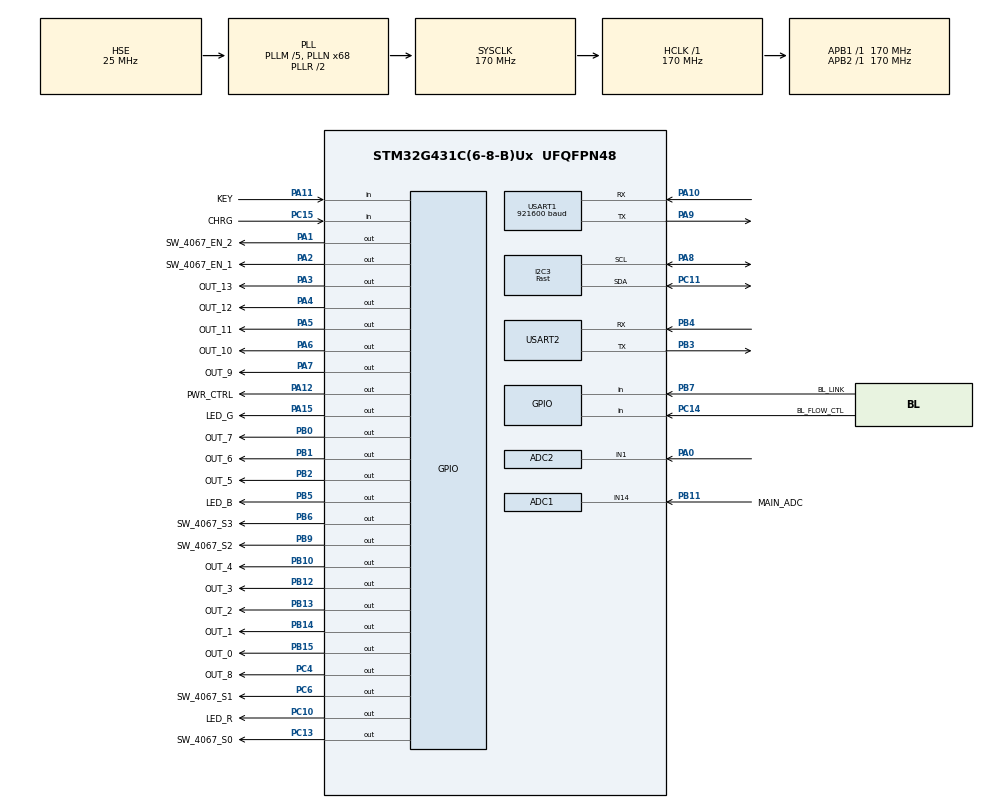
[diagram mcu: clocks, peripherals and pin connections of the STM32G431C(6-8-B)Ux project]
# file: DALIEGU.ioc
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ADC1.Channel-1\#ChannelRegularConversion=ADC_CHANNEL_14
ADC1.ContinuousConvMode=ENABLE
ADC1.DMAContinuousRequests=ENABLE
ADC1.NbrOfConversionFlag=1
ADC1.OffsetNumber-1\#ChannelRegularConversion=ADC_OFFSET_NONE
ADC1.Rank-1\#ChannelRegularConversion=1
ADC1.Resolution=ADC_RESOLUTION_8B
ADC1.SamplingTime-1\#ChannelRegularConversion=ADC_SAMPLETIME_2CYCLES_5
ADC1.master=1
ADC2.Channel-0\#ChannelRegularConversion=ADC_CHANNEL_1
ADC2.ClockPrescaler=ADC_CLOCK_SYNC_PCLK_DIV4
ADC2.ContinuousConvMode=ENABLE
ADC2.DMAContinuousRequests=ENABLE
ADC2.NbrOfConversionFlag=1
ADC2.OffsetNumber-0\#ChannelRegularConversion=ADC_OFFSET_NONE
ADC2.Rank-0\#ChannelRegularConversion=1
ADC2.SamplingTime-0\#ChannelRegularConversion=ADC_SAMPLETIME_92CYCLES_5
Dma.ADC1.4.Direction=DMA_PERIPH_TO_MEMORY
Dma.ADC1.4.EventEnable=DISABLE
Dma.ADC1.4.Instance=DMA1_Channel2
Dma.ADC1.4.MemDataAlignment=DMA_MDATAALIGN_BYTE
Dma.ADC1.4.MemInc=DMA_MINC_ENABLE
Dma.ADC1.4.Mode=DMA_CIRCULAR
Dma.ADC1.4.PeriphDataAlignment=DMA_PDATAALIGN_BYTE
Dma.ADC1.4.PeriphInc=DMA_PINC_DISABLE
Dma.ADC1.4.Polarity=HAL_DMAMUX_REQ_GEN_RISING
Dma.ADC1.4.Priority=DMA_PRIORITY_LOW
Dma.ADC1.4.RequestNumber=1
Dma.ADC1.4.SignalID=NONE
Dma.ADC1.4.SyncEnable=DISABLE
Dma.ADC1.4.SyncPolarity=HAL_DMAMUX_SYNC_NO_EVENT
Dma.ADC1.4.SyncRequestNumber=1
Dma.ADC1.4.SyncSignalID=NONE
Dma.ADC2.0.Direction=DMA_PERIPH_TO_MEMORY
Dma.ADC2.0.EventEnable=DISABLE
Dma.ADC2.0.Instance=DMA1_Channel1
Dma.ADC2.0.MemDataAlignment=DMA_MDATAALIGN_HALFWORD
Dma.ADC2.0.MemInc=DMA_MINC_ENABLE
Dma.ADC2.0.Mode=DMA_CIRCULAR
Dma.ADC2.0.PeriphDataAlignment=DMA_PDATAALIGN_HALFWORD
Dma.ADC2.0.PeriphInc=DMA_PINC_DISABLE
Dma.ADC2.0.Polarity=HAL_DMAMUX_REQ_GEN_RISING
Dma.ADC2.0.Priority=DMA_PRIORITY_LOW
Dma.ADC2.0.RequestNumber=1
Dma.ADC2.0.SignalID=NONE
Dma.ADC2.0.SyncEnable=DISABLE
Dma.ADC2.0.SyncPolarity=HAL_DMAMUX_SYNC_NO_EVENT
Dma.ADC2.0.SyncRequestNumber=1
Dma.ADC2.0.SyncSignalID=NONE
Dma.Request0=ADC2
Dma.Request1=USART1_TX
Dma.Request2=USART2_RX
Dma.Request3=USART2_TX
Dma.Request4=ADC1
Dma.USART1_TX.1.Direction=DMA_MEMORY_TO_PERIPH
Dma.USART1_TX.1.EventEnable=DISABLE
Dma.USART1_TX.1.Instance=DMA1_Channel3
Dma.USART1_TX.1.MemDataAlignment=DMA_MDATAALIGN_BYTE
Dma.USART1_TX.1.MemInc=DMA_MINC_ENABLE
Dma.USART1_TX.1.Mode=DMA_NORMAL
Dma.USART1_TX.1.PeriphDataAlignment=DMA_PDATAALIGN_BYTE
Dma.USART1_TX.1.PeriphInc=DMA_PINC_DISABLE
Dma.USART1_TX.1.Polarity=HAL_DMAMUX_REQ_GEN_RISING
Dma.USART1_TX.1.Priority=DMA_PRIORITY_LOW
Dma.USART1_TX.1.RequestNumber=1
Dma.USART1_TX.1.SignalID=NONE
Dma.USART1_TX.1.SyncEnable=DISABLE
Dma.USART1_TX.1.SyncPolarity=HAL_DMAMUX_SYNC_NO_EVENT
Dma.USART1_TX.1.SyncRequestNumber=1
Dma.USART1_TX.1.SyncSignalID=NONE
Dma.USART2_RX.2.Direction=DMA_PERIPH_TO_MEMORY
Dma.USART2_RX.2.EventEnable=DISABLE
Dma.USART2_RX.2.Instance=DMA1_Channel4
Dma.USART2_RX.2.MemDataAlignment=DMA_MDATAALIGN_BYTE
Dma.USART2_RX.2.MemInc=DMA_MINC_ENABLE
Dma.USART2_RX.2.Mode=DMA_NORMAL
Dma.USART2_RX.2.PeriphDataAlignment=DMA_PDATAALIGN_BYTE
Dma.USART2_RX.2.PeriphInc=DMA_PINC_DISABLE
Dma.USART2_RX.2.Polarity=HAL_DMAMUX_REQ_GEN_RISING
Dma.USART2_RX.2.Priority=DMA_PRIORITY_LOW
Dma.USART2_RX.2.RequestNumber=1
Dma.USART2_RX.2.SignalID=NONE
Dma.USART2_RX.2.SyncEnable=DISABLE
Dma.USART2_RX.2.SyncPolarity=HAL_DMAMUX_SYNC_NO_EVENT
Dma.USART2_RX.2.SyncRequestNumber=1
Dma.USART2_RX.2.SyncSignalID=NONE
Dma.USART2_TX.3.Direction=DMA_MEMORY_TO_PERIPH
Dma.USART2_TX.3.EventEnable=DISABLE
Dma.USART2_TX.3.Instance=DMA1_Channel5
Dma.USART2_TX.3.MemDataAlignment=DMA_MDATAALIGN_BYTE
Dma.USART2_TX.3.MemInc=DMA_MINC_ENABLE
Dma.USART2_TX.3.Mode=DMA_NORMAL
Dma.USART2_TX.3.PeriphDataAlignment=DMA_PDATAALIGN_BYTE
Dma.USART2_TX.3.PeriphInc=DMA_PINC_DISABLE
Dma.USART2_TX.3.Polarity=HAL_DMAMUX_REQ_GEN_RISING
Dma.USART2_TX.3.Priority=DMA_PRIORITY_LOW
Dma.USART2_TX.3.RequestNumber=1
Dma.USART2_TX.3.SignalID=NONE
Dma.USART2_TX.3.SyncEnable=DISABLE
Dma.USART2_TX.3.SyncPolarity=HAL_DMAMUX_SYNC_NO_EVENT
Dma.USART2_TX.3.SyncRequestNumber=1
Dma.USART2_TX.3.SyncSignalID=NONE
I2C3.I2C_Speed_Mode=I2C_Fast
I2C3.Timing=0x40621236
Mcu.Family=STM32G4
Mcu.Name=STM32G431C(6-8-B)Ux
Mcu.Package=UFQFPN48
NVIC.ADC1_2_IRQn=true\:0\:0\:false\:false\:true\:true\:true\:true
NVIC.DMA1_Channel1_IRQn=true\:0\:0\:false\:false\:true\:false\:true\:true
NVIC.DMA1_Channel2_IRQn=true\:0\:0\:false\:false\:true\:false\:true\:true
NVIC.DMA1_Channel3_IRQn=true\:0\:0\:false\:false\:true\:false\:true\:true
NVIC.DMA1_Channel4_IRQn=true\:0\:0\:false\:false\:true\:false\:true\:true
NVIC.DMA1_Channel5_IRQn=true\:0\:0\:false\:false\:true\:false\:true\:true
NVIC.PriorityGroup=NVIC_PRIORITYGROUP_4
NVIC.USART1_IRQn=true\:0\:0\:false\:false\:true\:false\:true\:true
NVIC.USART2_IRQn=true\:0\:0\:false\:false\:true\:false\:true\:true
PA0.Mode=IN1-Single-Ended
PA0.Signal=ADC2_IN1
PA1.GPIO_Label=SW_4067_EN_2
PA1.GPIO_Speed=GPIO_SPEED_FREQ_VERY_HIGH
PA1.PinState=GPIO_PIN_SET
PA1.Signal=GPIO_Output
PA10.Mode=Asynchronous
PA10.Signal=USART1_RX
PA11.GPIO_Label=KEY
PA11.GPIO_PuPd=GPIO_NOPULL
PA11.Signal=GPIO_Input
PA12.GPIO_Label=PWR_CTRL
PA12.PinState=GPIO_PIN_RESET
PA12.Signal=GPIO_Output
PA13.Mode=Serial_Wire
PA13.Signal=SYS_JTMS-SWDIO
PA14.Mode=Serial_Wire
PA14.Signal=SYS_JTCK-SWCLK
PA15.GPIO_Label=LED_G
PA15.PinState=GPIO_PIN_SET
PA15.Signal=GPIO_Output
PA2.GPIO_Label=SW_4067_EN_1
PA2.GPIO_Speed=GPIO_SPEED_FREQ_VERY_HIGH
PA2.PinState=GPIO_PIN_SET
PA2.Signal=GPIO_Output
PA3.GPIO_Label=OUT_13
PA3.GPIO_ModeDefaultOutputPP=GPIO_MODE_OUTPUT_PP
PA3.GPIO_PuPd=GPIO_NOPULL
PA3.GPIO_Speed=GPIO_SPEED_FREQ_VERY_HIGH
PA3.PinState=GPIO_PIN_RESET
PA3.Signal=GPIO_Output
PA4.GPIO_Label=OUT_12
PA4.GPIO_ModeDefaultOutputPP=GPIO_MODE_OUTPUT_PP
PA4.GPIO_PuPd=GPIO_NOPULL
PA4.GPIO_Speed=GPIO_SPEED_FREQ_VERY_HIGH
PA4.PinState=GPIO_PIN_RESET
PA4.Signal=GPIO_Output
PA5.GPIO_Label=OUT_11
PA5.GPIO_ModeDefaultOutputPP=GPIO_MODE_OUTPUT_PP
PA5.GPIO_PuPd=GPIO_NOPULL
PA5.GPIO_Speed=GPIO_SPEED_FREQ_VERY_HIGH
PA5.PinState=GPIO_PIN_RESET
PA5.Signal=GPIO_Output
PA6.GPIO_Label=OUT_10
PA6.GPIO_ModeDefaultOutputPP=GPIO_MODE_OUTPUT_PP
PA6.GPIO_PuPd=GPIO_NOPULL
PA6.GPIO_Speed=GPIO_SPEED_FREQ_VERY_HIGH
PA6.PinState=GPIO_PIN_RESET
PA6.Signal=GPIO_Output
PA7.GPIO_Label=OUT_9
PA7.GPIO_ModeDefaultOutputPP=GPIO_MODE_OUTPUT_PP
PA7.GPIO_PuPd=GPIO_NOPULL
PA7.GPIO_Speed=GPIO_SPEED_FREQ_VERY_HIGH
PA7.PinState=GPIO_PIN_RESET
PA7.Signal=GPIO_Output
PA8.Mode=I2C
PA8.Signal=I2C3_SCL
PA9.Mode=Asynchronous
PA9.Signal=USART1_TX
PB0.GPIO_Label=OUT_7
PB0.GPIO_ModeDefaultOutputPP=GPIO_MODE_OUTPUT_PP
PB0.GPIO_PuPd=GPIO_NOPULL
PB0.GPIO_Speed=GPIO_SPEED_FREQ_VERY_HIGH
PB0.PinState=GPIO_PIN_RESET
PB0.Signal=GPIO_Output
PB1.GPIO_Label=OUT_6
PB1.GPIO_ModeDefaultOutputPP=GPIO_MODE_OUTPUT_PP
PB1.GPIO_PuPd=GPIO_NOPULL
PB1.GPIO_Speed=GPIO_SPEED_FREQ_VERY_HIGH
PB1.PinState=GPIO_PIN_RESET
PB1.Signal=GPIO_Output
PB10.GPIO_Label=OUT_4
PB10.GPIO_ModeDefaultOutputPP=GPIO_MODE_OUTPUT_PP
PB10.GPIO_PuPd=GPIO_NOPULL
PB10.GPIO_Speed=GPIO_SPEED_FREQ_VERY_HIGH
PB10.PinState=GPIO_PIN_RESET
PB10.Signal=GPIO_Output
PB11.GPIO_Label=MAIN_ADC
PB11.Mode=IN14-Single-Ended
PB11.Signal=ADC1_IN14
PB12.GPIO_Label=OUT_3
PB12.GPIO_ModeDefaultOutputPP=GPIO_MODE_OUTPUT_PP
PB12.GPIO_PuPd=GPIO_NOPULL
PB12.GPIO_Speed=GPIO_SPEED_FREQ_VERY_HIGH
PB12.PinState=GPIO_PIN_RESET
PB12.Signal=GPIO_Output
PB13.GPIO_Label=OUT_2
PB13.GPIO_ModeDefaultOutputPP=GPIO_MODE_OUTPUT_PP
PB13.GPIO_PuPd=GPIO_NOPULL
PB13.GPIO_Speed=GPIO_SPEED_FREQ_VERY_HIGH
PB13.PinState=GPIO_PIN_RESET
PB13.Signal=GPIO_Output
PB14.GPIO_Label=OUT_1
PB14.GPIO_ModeDefaultOutputPP=GPIO_MODE_OUTPUT_PP
PB14.GPIO_PuPd=GPIO_NOPULL
PB14.GPIO_Speed=GPIO_SPEED_FREQ_VERY_HIGH
PB14.PinState=GPIO_PIN_RESET
PB14.Signal=GPIO_Output
PB15.GPIO_Label=OUT_0
PB15.GPIO_ModeDefaultOutputPP=GPIO_MODE_OUTPUT_PP
PB15.GPIO_PuPd=GPIO_NOPULL
PB15.GPIO_Speed=GPIO_SPEED_FREQ_VERY_HIGH
PB15.PinState=GPIO_PIN_RESET
PB15.Signal=GPIO_Output
PB2.GPIO_Label=OUT_5
PB2.GPIO_ModeDefaultOutputPP=GPIO_MODE_OUTPUT_PP
PB2.GPIO_PuPd=GPIO_NOPULL
PB2.GPIO_Speed=GPIO_SPEED_FREQ_VERY_HIGH
PB2.PinState=GPIO_PIN_RESET
PB2.Signal=GPIO_Output
PB3.Mode=Asynchronous
PB3.Signal=USART2_TX
PB4.Mode=Asynchronous
PB4.Signal=USART2_RX
PB5.GPIO_Label=LED_B
PB5.PinState=GPIO_PIN_SET
PB5.Signal=GPIO_Output
PB6.GPIO_Label=SW_4067_S3
PB6.GPIO_ModeDefaultOutputPP=GPIO_MODE_OUTPUT_PP
PB6.GPIO_PuPd=GPIO_NOPULL
PB6.GPIO_Speed=GPIO_SPEED_FREQ_VERY_HIGH
PB6.PinState=GPIO_PIN_RESET
PB6.Signal=GPIO_Output
PB7.GPIO_Label=BL_LINK
PB7.Signal=GPIO_Input
PB9.GPIO_Label=SW_4067_S2
PB9.GPIO_ModeDefaultOutputPP=GPIO_MODE_OUTPUT_PP
PB9.GPIO_PuPd=GPIO_NOPULL
PB9.GPIO_Speed=GPIO_SPEED_FREQ_VERY_HIGH
PB9.PinState=GPIO_PIN_RESET
PB9.Signal=GPIO_Output
PC10.GPIO_Label=LED_R
PC10.PinState=GPIO_PIN_SET
PC10.Signal=GPIO_Output
PC11.Mode=I2C
PC11.Signal=I2C3_SDA
PC13.GPIO_Label=SW_4067_S0
PC13.GPIO_ModeDefaultOutputPP=GPIO_MODE_OUTPUT_PP
PC13.GPIO_PuPd=GPIO_NOPULL
PC13.PinState=GPIO_PIN_RESET
PC13.Signal=GPIO_Output
PC14-OSC32_IN.GPIO_Label=BL_FLOW_CTL
PC14-OSC32_IN.Signal=GPIO_Input
PC15-OSC32_OUT.GPIO_Label=CHRG
PC15-OSC32_OUT.Signal=GPIO_Input
PC4.GPIO_Label=OUT_8
PC4.GPIO_ModeDefaultOutputPP=GPIO_MODE_OUTPUT_PP
PC4.GPIO_PuPd=GPIO_NOPULL
PC4.GPIO_Speed=GPIO_SPEED_FREQ_VERY_HIGH
PC4.PinState=GPIO_PIN_RESET
PC4.Signal=GPIO_Output
PC6.GPIO_Label=SW_4067_S1
PC6.GPIO_ModeDefaultOutputPP=GPIO_MODE_OUTPUT_PP
PC6.GPIO_PuPd=GPIO_NOPULL
PC6.GPIO_Speed=GPIO_SPEED_FREQ_VERY_HIGH
PC6.PinState=GPIO_PIN_RESET
PC6.Signal=GPIO_Output
PF0-OSC_IN.Mode=HSE-External-Oscillator
PF0-OSC_IN.Signal=RCC_OSC_IN
PF1-OSC_OUT.Mode=HSE-External-Oscillator
PF1-OSC_OUT.Signal=RCC_OSC_OUT
ProjectManager.HeapSize=0x200
ProjectManager.StackSize=0x400
ProjectManager.TargetToolchain=MDK-ARM V5.32
RCC.ADC12Freq_Value=170000000
RCC.AHBFreq_Value=170000000
RCC.APB1Freq_Value=170000000
RCC.APB1TimFreq_Value=170000000
RCC.APB2Freq_Value=170000000
RCC.APB2TimFreq_Value=170000000
RCC.CortexFreq_Value=170000000
RCC.EXTERNAL_CLOCK_VALUE=12288000
RCC.HCLKFreq_Value=170000000
RCC.HSE_VALUE=25000000
RCC.HSI48_VALUE=48000000
RCC.HSI_VALUE=16000000
RCC.LSE_VALUE=32768
RCC.PLLM=RCC_PLLM_DIV5
RCC.PLLN=68
RCC.PLLSourceVirtual=RCC_PLLSOURCE_HSE
RCC.SYSCLKFreq_VALUE=170000000
RCC.SYSCLKSource=RCC_SYSCLKSOURCE_PLLCLK
RCC.USBFreq_Value=170000000
RCC.VCOOutputFreq_Value=340000000
USART1.BaudRate=921600
USART1.VirtualMode-Asynchronous=VM_ASYNC
USART2.VirtualMode-Asynchronous=VM_ASYNC
VP_IWDG_VS_IWDG.Mode=IWDG_Activate
VP_SYS_VS_DBSignals.Mode=DisableDeadBatterySignals
board=custom

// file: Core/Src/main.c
/* USER CODE BEGIN Header */
/**
 ******************************************************************************
 * @file           : main.c
 * @brief          : Main program body
 ******************************************************************************
 * @attention
 *
 * Copyright (c) 2026 STMicroelectronics.
 * All rights reserved.
 *
 * This software is licensed under terms that can be found in the LICENSE file
 * in the root directory of this software component.
 * If no LICENSE file comes with this software, it is provided AS-IS.
 *
 ******************************************************************************
 */
/* USER CODE END Header */
#include "main.h"
#include "adc.h"
#include "dma.h"
#include "i2c.h"
#include "iwdg.h"
#include "usart.h"
#include "gpio.h"

/* USER CODE BEGIN Includes */
#include "user_comm.h"
/* USER CODE END Includes */

void SystemClock_Config(void);

int main(void)
{

    /* MCU Configuration--------------------------------------------------------*/

    /* Reset of all peripherals, Initializes the Flash interface and the Systick. */
    HAL_Init();

    /* Configure the system clock */
    SystemClock_Config();

    /* Initialize all configured peripherals */
    MX_GPIO_Init();
    MX_DMA_Init();
    MX_IWDG_Init();
    MX_ADC2_Init();
    MX_ADC1_Init();
    MX_I2C3_Init();
    MX_USART1_UART_Init();
    MX_USART2_UART_Init();
    /* USER CODE BEGIN 2 */
    all_led_off();

    delay_init();

    start_control();

    fill_tx_data();

    check_mems_type();

    // 根据不同的MEMS型号进行初始化
    init_mems();

    // 开关全关
    HAL_GPIO_WritePin(SW_4067_EN_2_GPIO_Port, SW_4067_EN_2_Pin, GPIO_PIN_SET);
    HAL_GPIO_WritePin(SW_4067_EN_1_GPIO_Port, SW_4067_EN_1_Pin, GPIO_PIN_SET);

    HAL_ADC_Start_DMA(&hadc1, (uint32_t *)main_adc_buf, ADC1_BUF_SIZE);
    HAL_ADC_Start_DMA(&hadc2, (uint32_t *)bat_val_dma_buf, ADC2_BUF_SIZE);

    // HAL_GPIO_WritePin(LED_B_GPIO_Port, LED_B_Pin, GPIO_PIN_RESET); // 关闭LED蓝灯
    // 打开通道1
    // HAL_GPIO_WritePin(OUT_0_GPIO_Port, OUT_0_Pin, GPIO_PIN_SET);

    // // 打开adc通道0
    // HAL_GPIO_WritePin(SW_4067_S0_GPIO_Port, SW_4067_S0_Pin, GPIO_PIN_SET);
    // HAL_GPIO_WritePin(SW_4067_S1_GPIO_Port, SW_4067_S1_Pin, GPIO_PIN_RESET);
    // HAL_GPIO_WritePin(SW_4067_S2_GPIO_Port, SW_4067_S2_Pin, GPIO_PIN_RESET);
    // HAL_GPIO_WritePin(SW_4067_S3_GPIO_Port, SW_4067_S3_Pin, GPIO_PIN_RESET);

    // HAL_GPIO_WritePin(SW_4067_EN_1_GPIO_Port, SW_4067_EN_1_Pin, GPIO_PIN_RESET);
    // HAL_GPIO_WritePin(SW_4067_EN_2_GPIO_Port, SW_4067_EN_2_Pin, GPIO_PIN_SET);

    /* USER CODE END 2 */

    /* Infinite loop */
    /* USER CODE BEGIN WHILE */
    while (1)
    {

        // 5.5ms
        main_task();

        // 喂狗
        feed_iwdg();

        key_task();

        bat_task();

        led_task();

        bl_link_status_check();

        imu_rest_cmd_task();

        charge_state_task();

        mems_task();

        /* USER CODE END WHILE */

    }
}

void SystemClock_Config(void)
{
    RCC_OscInitTypeDef RCC_OscInitStruct = {0};
    RCC_ClkInitTypeDef RCC_ClkInitStruct = {0};

    /** Configure the main internal regulator output voltage
     */
    HAL_PWREx_ControlVoltageScaling(PWR_REGULATOR_VOLTAGE_SCALE1_BOOST);

    /** Initializes the RCC Oscillators according to the specified parameters
     * in the RCC_OscInitTypeDef structure.
     */
    RCC_OscInitStruct.OscillatorType = RCC_OSCILLATORTYPE_LSI | RCC_OSCILLATORTYPE_HSE;
    RCC_OscInitStruct.HSEState = RCC_HSE_ON;
    RCC_OscInitStruct.LSIState = RCC_LSI_ON;
    RCC_OscInitStruct.PLL.PLLState = RCC_PLL_ON;
    RCC_OscInitStruct.PLL.PLLSource = RCC_PLLSOURCE_HSE;
    RCC_OscInitStruct.PLL.PLLM = RCC_PLLM_DIV5;
    RCC_OscInitStruct.PLL.PLLN = 68;
    RCC_OscInitStruct.PLL.PLLP = RCC_PLLP_DIV2;
    RCC_OscInitStruct.PLL.PLLQ = RCC_PLLQ_DIV2;
    RCC_OscInitStruct.PLL.PLLR = RCC_PLLR_DIV2;
    if (HAL_RCC_OscConfig(&RCC_OscInitStruct) != HAL_OK)
    {
        Error_Handler();
    }

    /** Initializes the CPU, AHB and APB buses clocks
     */
    RCC_ClkInitStruct.ClockType = RCC_CLOCKTYPE_HCLK | RCC_CLOCKTYPE_SYSCLK | RCC_CLOCKTYPE_PCLK1 | RCC_CLOCKTYPE_PCLK2;
    RCC_ClkInitStruct.SYSCLKSource = RCC_SYSCLKSOURCE_PLLCLK;
    RCC_ClkInitStruct.AHBCLKDivider = RCC_SYSCLK_DIV1;
    RCC_ClkInitStruct.APB1CLKDivider = RCC_HCLK_DIV1;
    RCC_ClkInitStruct.APB2CLKDivider = RCC_HCLK_DIV1;

    if (HAL_RCC_ClockConfig(&RCC_ClkInitStruct, FLASH_LATENCY_4) != HAL_OK)
    {
        Error_Handler();
    }
}

void Error_Handler(void)
{
    __disable_irq();
    while (1)
    {
    }
}
